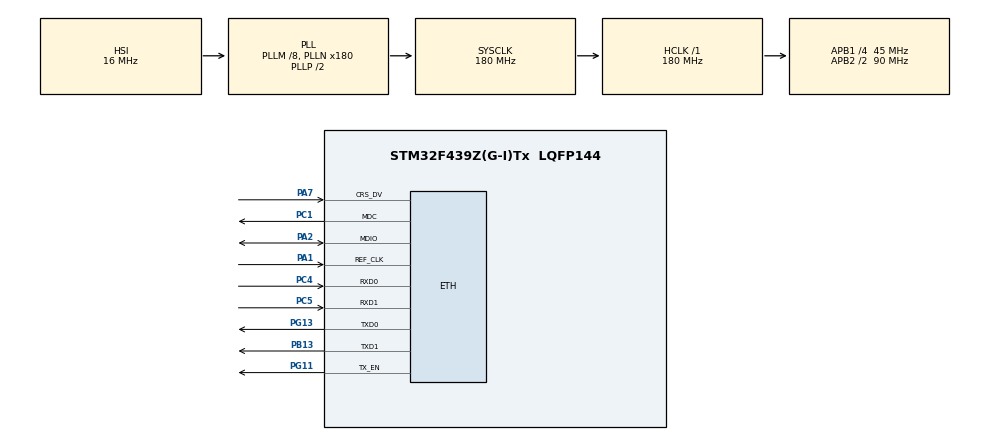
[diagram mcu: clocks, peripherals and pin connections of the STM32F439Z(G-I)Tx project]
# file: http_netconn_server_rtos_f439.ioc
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ETH.MediaInterface=HAL_ETH_RMII_MODE
ETH.RxBuffLen=1000
ETH.RxMode=ETH_RXINTERRUPT_MODE
FREERTOS.INCLUDE_uxTaskGetStackHighWaterMark2=1
FREERTOS.Tasks01=defaultTask,24,256,StartDefaultTask,Default,NULL,Dynamic,NULL,NULL
FREERTOS.configENABLE_FPU=1
FREERTOS.configGENERATE_RUN_TIME_STATS=0
FREERTOS.configMINIMAL_STACK_SIZE=256
FREERTOS.configTOTAL_HEAP_SIZE=30720
FREERTOS.configUSE_STATS_FORMATTING_FUNCTIONS=0
LWIP.API_LIB_DEBUG=LWIP_DBG_ON
LWIP.API_MSG_DEBUG=LWIP_DBG_ON
LWIP.AUTOIP_DEBUG=LWIP_DBG_ON
LWIP.BSP.number=1
LWIP.DHCP_DEBUG=LWIP_DBG_ON
LWIP.DNS_DEBUG=LWIP_DBG_ON
LWIP.ETHARP_DEBUG=LWIP_DBG_ON
LWIP.GATEWAY_ADDRESS=192.168.001.001
LWIP.HTTPD_DEBUG=LWIP_DBG_ON
LWIP.HTTPD_DEBUG_TIMING=LWIP_DBG_ON
LWIP.ICMP_DEBUG=LWIP_DBG_ON
LWIP.IGMP_DEBUG=LWIP_DBG_ON
LWIP.INET_DEBUG=LWIP_DBG_ON
LWIP.IP_ADDRESS=192.168.001.150
LWIP.IP_DEBUG=LWIP_DBG_ON
LWIP.IP_REASS_DEBUG=LWIP_DBG_ON
LWIP.LWIP_DBG_MIN_LEVEL=LWIP_DBG_LEVEL_ALL
LWIP.LWIP_DHCP=1
LWIP.LWIP_HTTPD=1
LWIP.MEMP_DEBUG=LWIP_DBG_ON
LWIP.MEMP_NUM_TCP_PCB=10
LWIP.MEM_DEBUG=LWIP_DBG_ON
LWIP.MEM_SIZE=10*1024
LWIP.NETIF_DEBUG=LWIP_DBG_ON
LWIP.NETMASK_ADDRESS=255.255.255.000
LWIP.PBUF_DEBUG=LWIP_DBG_ON
LWIP.PPP_DEBUG=LWIP_DBG_ON
LWIP.RAW_DEBUG=LWIP_DBG_ON
LWIP.SLIP_DEBUG=LWIP_DBG_ON
LWIP.SNMP_DEBUG=LWIP_DBG_ON
LWIP.SNMP_MIB_DEBUG=LWIP_DBG_ON
LWIP.SOCKETS_DEBUG=LWIP_DBG_ON
LWIP.SYS_DEBUG=LWIP_DBG_ON
LWIP.TCPIP_DEBUG=LWIP_DBG_ON
LWIP.TCP_CWND_DEBUG=LWIP_DBG_ON
LWIP.TCP_DEBUG=LWIP_DBG_ON
LWIP.TCP_FR_DEBUG=LWIP_DBG_ON
LWIP.TCP_INPUT_DEBUG=LWIP_DBG_ON
LWIP.TCP_OUTPUT_DEBUG=LWIP_DBG_ON
LWIP.TCP_QLEN_DEBUG=LWIP_DBG_ON
LWIP.TCP_RST_DEBUG=LWIP_DBG_ON
LWIP.TCP_RTO_DEBUG=LWIP_DBG_ON
LWIP.TCP_WND_DEBUG=LWIP_DBG_ON
LWIP.TIMERS_DEBUG=LWIP_DBG_ON
LWIP.UDP_DEBUG=LWIP_DBG_ON
LWIP.Version=v2.1.2_Cube
LWIP0.BSP.STBoard=false
LWIP0.BSP.api=BSP_COMPONENT_DRIVER
LWIP0.BSP.component=LAN8742
LWIP0.BSP.instance=LAN8742
LWIP0.BSP.name=Driver_PHY
LWIP0.BSP.semaphore=S_LAN8742
LWIP0.BSP.solution=LAN8742
Mcu.Family=STM32F4
Mcu.Name=STM32F439Z(G-I)Tx
Mcu.Package=LQFP144
NVIC.ETH_IRQn=true\:5\:0\:false\:false\:true\:true\:false\:true\:true
NVIC.PriorityGroup=NVIC_PRIORITYGROUP_4
NVIC.TIM6_DAC_IRQn=true\:15\:0\:false\:false\:true\:false\:false\:true\:true
NVIC.TimeBase=TIM6_DAC_IRQn
NVIC.TimeBaseIP=TIM6
PA1.Mode=RMII
PA1.Signal=ETH_REF_CLK
PA2.Mode=RMII
PA2.Signal=ETH_MDIO
PA7.Mode=RMII
PA7.Signal=ETH_CRS_DV
PB13.Mode=RMII
PB13.Signal=ETH_TXD1
PC1.Mode=RMII
PC1.Signal=ETH_MDC
PC4.Mode=RMII
PC4.Signal=ETH_RXD0
PC5.Mode=RMII
PC5.Signal=ETH_RXD1
PG11.Mode=RMII
PG11.Signal=ETH_TX_EN
PG13.Mode=RMII
PG13.Signal=ETH_TXD0
PH0/OSC_IN.Mode=HSE-External-Oscillator
PH0/OSC_IN.Signal=RCC_OSC_IN
PH1/OSC_OUT.Mode=HSE-External-Oscillator
PH1/OSC_OUT.Signal=RCC_OSC_OUT
ProjectManager.HeapSize=0x200
ProjectManager.StackSize=0x400
ProjectManager.TargetToolchain=STM32CubeIDE
RCC.48MHZClocksFreq_Value=51428571.428571425
RCC.AHBFreq_Value=180000000
RCC.APB1CLKDivider=RCC_HCLK_DIV4
RCC.APB1Freq_Value=45000000
RCC.APB1TimFreq_Value=90000000
RCC.APB2CLKDivider=RCC_HCLK_DIV2
RCC.APB2Freq_Value=90000000
RCC.APB2TimFreq_Value=180000000
RCC.CortexFreq_Value=180000000
RCC.HCLKFreq_Value=180000000
RCC.HSE_VALUE=8000000
RCC.HSI_VALUE=16000000
RCC.LSE_VALUE=32768
RCC.PLLM=8
RCC.PLLMUL=RCC_PLL_MUL9
RCC.PLLN=180
RCC.PLLQ=7
RCC.PRESCALERUSB=RCC_USBCLKSOURCE_PLL_DIV1_5
RCC.SYSCLKFreq_VALUE=180000000
RCC.SYSCLKSource=RCC_SYSCLKSOURCE_PLLCLK
RCC.SYSCLKSourceVirtual=RCC_SYSCLKSOURCE_PLLCLK
RCC.USBFreq_Value=48000000
RCC.VCOOutputFreq_Value=360000000
VP_FREERTOS_VS_CMSIS_V2.Mode=CMSIS_V2
VP_LWIP_VS_Enabled.Mode=Enabled
VP_SYS_VS_tim6.Mode=TIM6
board=NUCLEO-F439ZI

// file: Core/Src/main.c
/* USER CODE BEGIN Header */
/**
  ******************************************************************************
  * @file           : main.c
  * @brief          : Main program body
  ******************************************************************************
  * @attention
  *
  * Copyright (c) 2024 STMicroelectronics.
  * All rights reserved.
  *
  * This software is licensed under terms that can be found in the LICENSE file
  * in the root directory of this software component.
  * If no LICENSE file comes with this software, it is provided AS-IS.
  *
  ******************************************************************************
  */
/* USER CODE END Header */
#include "main.h"
#include "cmsis_os.h"
#include "lwip.h"

/* USER CODE BEGIN Includes */
#include "lwip/api.h"
#include "lwip/opt.h"
#include "lwip/arch.h"
#include "lwip/apps/fs.h"
#include "string.h"
#include <stdio.h>
/* USER CODE END Includes */

/* Definitions for defaultTask */
osThreadId_t defaultTaskHandle;
const osThreadAttr_t defaultTask_attributes = {
  .name = "defaultTask",
  .stack_size = 256 * 4,
  .priority = (osPriority_t) osPriorityNormal,
};

void SystemClock_Config(void);
static void MX_GPIO_Init(void);
void StartDefaultTask(void *argument);

/* USER CODE BEGIN PFP */
static void http_serve_page(struct netconn *conn);
static void http_thread(void *arg);
void http_server_init();
/* USER CODE END PFP */

int main(void)
{

  /* MCU Configuration--------------------------------------------------------*/

  /* Reset of all peripherals, Initializes the Flash interface and the Systick. */
  HAL_Init();

  /* Configure the system clock */
  SystemClock_Config();

  /* Initialize all configured peripherals */
  MX_GPIO_Init();

  /* Init scheduler */
  osKernelInitialize();

  /* Create the thread(s) */
  /* creation of defaultTask */
  defaultTaskHandle = osThreadNew(StartDefaultTask, NULL, &defaultTask_attributes);

  /* Start scheduler */
  osKernelStart();

  /* We should never get here as control is now taken by the scheduler */

  /* Infinite loop */
  while (1)
  {

  }
}

void SystemClock_Config(void)
{
  RCC_OscInitTypeDef RCC_OscInitStruct = {0};
  RCC_ClkInitTypeDef RCC_ClkInitStruct = {0};

  /** Configure the main internal regulator output voltage
  */
  __HAL_RCC_PWR_CLK_ENABLE();
  __HAL_PWR_VOLTAGESCALING_CONFIG(PWR_REGULATOR_VOLTAGE_SCALE1);

  /** Initializes the RCC Oscillators according to the specified parameters
  * in the RCC_OscInitTypeDef structure.
  */
  RCC_OscInitStruct.OscillatorType = RCC_OSCILLATORTYPE_HSI;
  RCC_OscInitStruct.HSIState = RCC_HSI_ON;
  RCC_OscInitStruct.HSICalibrationValue = RCC_HSICALIBRATION_DEFAULT;
  RCC_OscInitStruct.PLL.PLLState = RCC_PLL_ON;
  RCC_OscInitStruct.PLL.PLLSource = RCC_PLLSOURCE_HSI;
  RCC_OscInitStruct.PLL.PLLM = 8;
  RCC_OscInitStruct.PLL.PLLN = 180;
  RCC_OscInitStruct.PLL.PLLP = RCC_PLLP_DIV2;
  RCC_OscInitStruct.PLL.PLLQ = 7;
  if (HAL_RCC_OscConfig(&RCC_OscInitStruct) != HAL_OK)
  {
    Error_Handler();
  }

  /** Activate the Over-Drive mode
  */
  if (HAL_PWREx_EnableOverDrive() != HAL_OK)
  {
    Error_Handler();
  }

  /** Initializes the CPU, AHB and APB buses clocks
  */
  RCC_ClkInitStruct.ClockType = RCC_CLOCKTYPE_HCLK|RCC_CLOCKTYPE_SYSCLK
                              |RCC_CLOCKTYPE_PCLK1|RCC_CLOCKTYPE_PCLK2;
  RCC_ClkInitStruct.SYSCLKSource = RCC_SYSCLKSOURCE_PLLCLK;
  RCC_ClkInitStruct.AHBCLKDivider = RCC_SYSCLK_DIV1;
  RCC_ClkInitStruct.APB1CLKDivider = RCC_HCLK_DIV4;
  RCC_ClkInitStruct.APB2CLKDivider = RCC_HCLK_DIV2;

  if (HAL_RCC_ClockConfig(&RCC_ClkInitStruct, FLASH_LATENCY_5) != HAL_OK)
  {
    Error_Handler();
  }
}

static void MX_GPIO_Init(void)
{

  /* GPIO Ports Clock Enable */
  __HAL_RCC_GPIOH_CLK_ENABLE();
  __HAL_RCC_GPIOC_CLK_ENABLE();
  __HAL_RCC_GPIOA_CLK_ENABLE();
  __HAL_RCC_GPIOB_CLK_ENABLE();
  __HAL_RCC_GPIOG_CLK_ENABLE();

}

/* USER CODE BEGIN 4 */
void http_server_init()
{
  sys_thread_new("http_thread", http_thread, NULL, 2*DEFAULT_THREAD_STACKSIZE, osPriorityAboveNormal);
}

static void http_thread(void *arg)
{
  struct netconn *conn, *newconn;
  err_t err, accept_err;

  /* Create a new TCP connection handle */
  conn = netconn_new(NETCONN_TCP);

  if (conn!= NULL)
  {
    /* Bind to port 80 (HTTP) with default IP address */
    err = netconn_bind(conn, NULL, 80);

    if (err == ERR_OK)
    {
      /* Put the connection into LISTEN state */
      netconn_listen(conn);

      while(1)
      {
        /* accept any incoming connection */
        accept_err = netconn_accept(conn, &newconn);
        if(accept_err == ERR_OK)
        {
          /* serve connection */
          http_serve_page(newconn);

          /* delete connection */
          netconn_delete(newconn);
        }
      }
    }
  }
}

static void http_serve_page(struct netconn *conn)
{
	struct netbuf *inbuf;
	err_t recv_err;
	char* buf;
	u16_t buflen;
	struct fs_file file;

	/* Read the data from the port, blocking if nothing yet there */
	recv_err = netconn_recv(conn, &inbuf);

	if (recv_err == ERR_OK)
	{
		if (netconn_err(conn) == ERR_OK)
		{
			/* Get the data pointer and length of the data inside a netbuf */
			netbuf_data(inbuf, (void**)&buf, &buflen);

			/* Check if request to get the index.html */
			if (strncmp((char const *)buf,"GET /index.html",15)==0)
			{
				fs_open(&file, "/index.html");
				netconn_write(conn, (const unsigned char*)(file.data), (size_t)file.len, NETCONN_NOCOPY);
				fs_close(&file);
			}
			else
			{
				/* Load Error page */
				fs_open(&file, "/404.html");
				netconn_write(conn, (const unsigned char*)(file.data), (size_t)file.len, NETCONN_NOCOPY);
				fs_close(&file);
			}
		}
	}
	/* Close the connection (server closes in HTTP) */
	netconn_close(conn);

	/* Delete the buffer (netconn_recv gives us ownership,
   so we have to make sure to deallocate the buffer) */
	netbuf_delete(inbuf);
}

int _write(int file, char *ptr, int len)
{
  (void)file;
  int DataIdx;

  for (DataIdx = 0; DataIdx < len; DataIdx++)
  { //To get printf working using serial wire viewer (available on cubeIDE only)
	 ITM_SendChar(*ptr++);
  }
  return len;
}
/* USER CODE END 4 */

void StartDefaultTask(void *argument)
{
  /* init code for LWIP */
  MX_LWIP_Init();
  /* USER CODE BEGIN 5 */
  http_server_init();
  /* Infinite loop */
  for(;;)
  {
	  osThreadTerminate(defaultTaskHandle);
  }
  /* USER CODE END 5 */
}

void HAL_TIM_PeriodElapsedCallback(TIM_HandleTypeDef *htim)
{
  if (htim->Instance == TIM6) {
    HAL_IncTick();
  }
}

void Error_Handler(void)
{
  __disable_irq();
  while (1)
  {
  }
}
